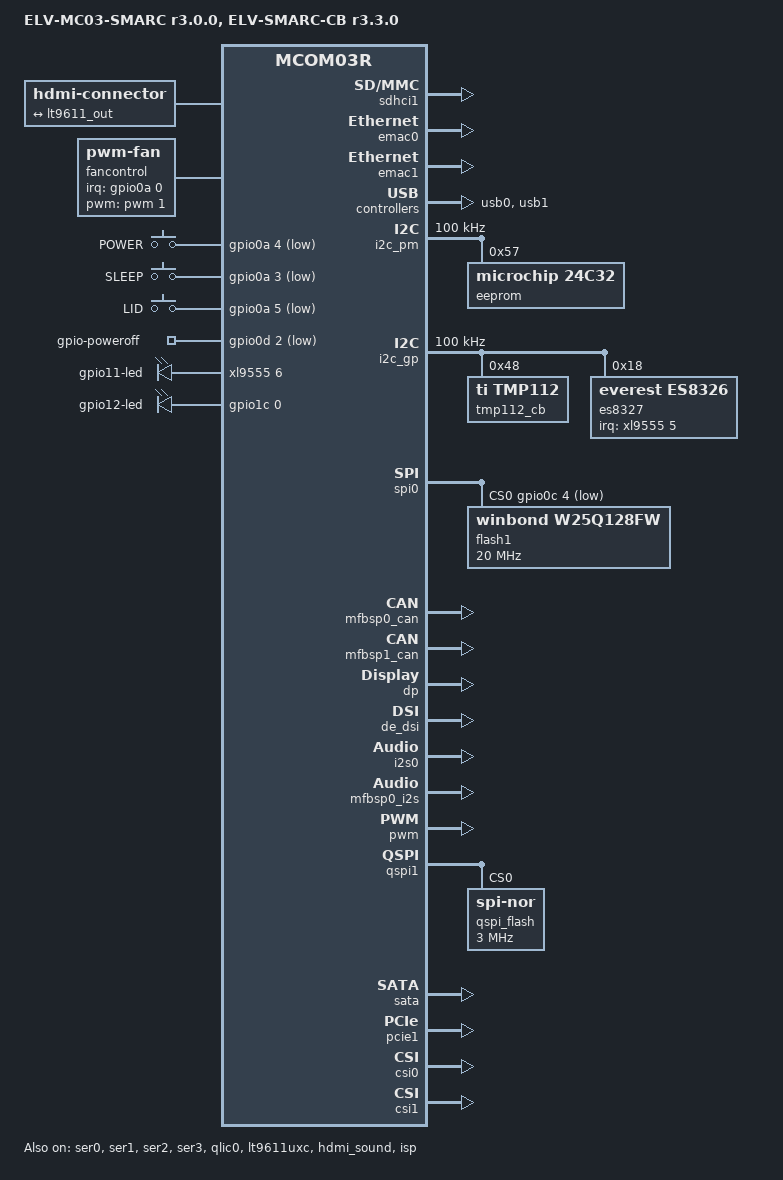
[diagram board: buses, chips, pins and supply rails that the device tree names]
// SPDX-License-Identifier: GPL-2.0+
// Copyright 2025 RnD Center "ELVEES", JSC

/dts-v1/;

#include <dt-bindings/gpio/gpio.h>
#include <dt-bindings/input/input.h>

#include "mcom03r-elvmc03smarc-r3.0.0.dtsi"

/ {
	model = "ELV-MC03-SMARC r3.0.0, ELV-SMARC-CB r3.3.0";
	compatible = "elvees,elvmc03smarc-r3.0.0-elvsmarccb-r3.3.0",
		     "elvees,elvmc03smarc-elvsmarccb",
		     "elvees,elvsmarccb-r3.3.0",
		     "elvees,elvsmarccb",
		     "elvees,elvmc03smarc-r3.0.0",
		     "elvees,elvmc03smarc",
		     "elvees,mcom03r";

	aliases {
		i2c5 = &i2c_cam0;
		i2c6 = &i2c_cam1;
	};

	chosen {
		stdout-path = "serial0:115200n8";
	};

	hdmi_connector: hdmi-connector {
		compatible = "hdmi-connector";
		label = "hdmi";

		type = "a";

		port {
			hdmi_connector_in: endpoint {
				remote-endpoint = <&lt9611_out>;
			};
		};
	};

	elvsmarccb_asound {
		compatible = "simple-audio-card";
		simple-audio-card,name = "analog-audio";
		simple-audio-card,format = "i2s";
		simple-audio-card,bitclock-master = <&dailink1_master>;
		simple-audio-card,frame-master = <&dailink1_master>;
		simple-audio-card,continuous-clock;

		dailink1_master: simple-audio-card,cpu {
				sound-dai = <&mfbsp0_i2s>;
		};

		simple-audio-card,codec {
				sound-dai = <&es8327>;
		};
	};

	fancontrol: pwm-fan {
		compatible = "pwm-fan";
		pwms = <&pwm 1 40000 0>;
		#cooling-cells = <2>;
		cooling-levels = <0 102 180 230>;
		interrupt-parent = <&gpio0a>;
		interrupts = <0 IRQ_TYPE_EDGE_FALLING>;
		pulses-per-revolution = <2>;
	};

	elvsmarccb-keys-with-irq {
		compatible = "gpio-keys";

		power {
			gpios = <&gpio0a 4 GPIO_ACTIVE_LOW>;
			label = "POWER";
			linux,code = <KEY_POWER>;
		};

		sleep {
			gpios = <&gpio0a 3 GPIO_ACTIVE_LOW>;
			label = "SLEEP";
			linux,code = <KEY_SLEEP>;
		};

		lid-switch {
			gpios = <&gpio0a 5 GPIO_ACTIVE_LOW>;
			label = "LID";
			linux,input-type = <EV_SW>;
			linux,code = <SW_LID>;
			wakeup-source;
		};
	};

	gpio-poweroff {
		compatible = "gpio-poweroff";
		gpios = <&gpio0d 2 GPIO_ACTIVE_LOW>;
		timeout-ms = <1000>;
	};

	elvsmarccb-leds {
		compatible = "gpio-leds";

		gpio11-led {
			gpios = <&xl9555 6 GPIO_ACTIVE_HIGH>;
			default-state = "off";
		};

		gpio12-led {
			gpios = <&gpio1c 0 GPIO_ACTIVE_HIGH>;
			default-state = "off";
		};
	};
};

&gpio0a {
	gpio-line-names = "GPIO6", "nSMB_ALERT", "SER0_CTS", "nSLEEP",
		"nPOWER_BTN", "nLID", "INT_LVDS_1V8", "SER0_RTS";
};

&gpio0d {
	gpio-line-names = "SER2_TX", "", "nCARRIER_SHDWN", "I2C_PM_CK",
		"I2C_PM_DAT", "GPIO1_CAM1_PWR#", "GPIO2_CAM0_RST#", "nUSER_LED1";
};

&gpio1b {
	gpio-line-names = "HDMI_I2S_SCLK", "HDMI_I2S_LRCLK", "HDMI_I2S_D",
		"GPIO0_CAM0_PWR#", "ESPI_RESET#", "", "SER1_TX", "SER1_RX";
};

&gpio1c {
	gpio-line-names = "GPIO12", "GPIO13", "nCHARGING", "nCHARGER_PRSNT",
		"nTEST", "CARRIER_STBY#", "FORCE_RECOV#", "";
};

&xl9555 {
	gpio-line-names = "GPIO4", "USB_HUB_RST#", "GPIO7", "GPIO8", "GPIO9",
		"GPIO10", "GPIO11", " PCIE_WAKE#", "nRST_ETH1", "nRST_ETH0",
		"nRST_HDMI", "", "INT_HDMI", "nINT_RTC", "nINT_ETH0", "nINT_ETH1";
};

&sdhci1 {
	status = "okay";

	/* Disable 1.8V support
	 * Disable SDR50, SDR104 and DDR50 support
	 */
	sdhci-caps-mask = <0x7 0x4000000>;
	sdhci-caps = <0x0 0x0>;
};

&sdhci1_default {
	/* The default clock pad drive strength of 6 mA is insufficient
	 * for some ELV-SMARC-CBs resulting in unstable SDMMC performance
	 */
	clk {
		pins = "SDMMC1_CLK";
		drive-strength = <8>;
	};
};

/* Connects to XP8(RS-232) or XP9(RS-485) chosen by SA5 switch */
&ser0 {
	status = "okay";

	pinctrl-names = "default";
	pinctrl-0 = <&uart3_mux_data &uart3_mux_rtscts>;
};

/* Connects to debug USB Type-C port */
&ser1 {
	status = "okay";
};

/* Connects to XP12 RPi header */
&ser2 {
	status = "okay";
};

/* Connects to XP11 */
&ser3 {
	status = "okay";
};

&emac0 {
	status = "okay";
};

&emac1 {
	status = "okay";
};

// Increase pad current for higer speed - from 400-600 to 900+ Mbit/s.
&emac1_default {
	tx_data {
		groups = "emac1_tx";
		drive-strength = <6>;
	};

	txc {
		pins = "EMAC1_RGMII_TXC";
		drive-strength = <6>;
	};
};

&usb0 {
	status = "okay";
};

/* Connected to USB 3.0 hub */
&usb1 {
	status = "okay";
};

&i2c_pm {
	status = "okay";
	// not tested to work on 400k
	clock-frequency = <100000>;

	eeprom@57 {
		compatible = "microchip,24c32", "atmel,24c32";
		reg = <0x57>;
	};
};

&i2c_gp {
	status = "okay";
	// not tested to work on 400k
	clock-frequency = <100000>;

	tmp112_cb: temperature-sensor@48 {
		compatible = "ti,tmp112";
		reg = <0x48>;
	};

	es8327: codec@18 {
		compatible = "everest,es8326";
		reg = <0x18>;

		interrupt-parent = <&xl9555>;
		interrupts = <5 IRQ_TYPE_EDGE_RISING>;

		clocks = <&audio_mclk>;
		clock-names = "mclk";
		#sound-dai-cells = <0>;
		everest,mic1-src = [22];
		everest,mic2-src = [44];
		everest,jack-pol = [0e];
		everest,interrupt-src = [08];
		everest,interrupt-clk = [45];
	};
};

&spi0 {
	status = "okay";
	num-cs = <2>;
	cs-gpios = <&gpio0c 4 GPIO_ACTIVE_LOW>, <&gpio0c 5 GPIO_ACTIVE_LOW>;

	flash1: w25q128jw@0 {
		#address-cells = <1>;
		#size-cells = <1>;
		compatible = "winbond,w25q128fw", "jedec,spi-nor";
		spi-max-frequency = <20000000>;
		reg = <0x0>;
	};
};

/* Connected to XP3 socket through CAN transceiver */
&mfbsp0_can {
	status = "okay";
};

/* Connected to XP3 socket through CAN transceiver */
&mfbsp1_can {
	status = "okay";
};

&qlic0 {
	status = "okay";
};

&dp {
	status = "okay";
};

&de_dsi {
	status = "okay";
};

&lt9611uxc {
	status = "okay";

	ports {
		port@2 {
			reg = <2>;
			lt9611_out: endpoint {
				remote-endpoint = <&hdmi_connector_in>;
			};
		};
	};
};

&hdmi_sound {
	status = "okay";
};

&i2s0 {
	status = "okay";
};

/* SMARC S38-42 (I2S0*) pins connected to mfbsp0 */
&mfbsp0_i2s {
	status = "okay";
};

&audio_mclk {
	status = "okay";
};

&pwm {
		status = "okay";
		elvees,output-channel = <0 1 0 0>;
		elvees,state-on-disable = <0 1 0 0>;

		pinctrl-names = "default";
		pinctrl-0 = <&pwm_oenb1_mux>;
};

/*
 * Upon reaching the trip point the thermal subsystem driver enables the fans.
 *
 * Thermal zones can be enabled/disabled via sysfs by writing said state into
 * the corresponding /sys/class/thermal/thermal_zoneX/mode file.
 */
&trips {
	cpu_alert0: cpu-alert-0 {
		temperature = <50000>;
		hysteresis = <1000>;
		type = "active";
	};
};

&cooling_maps {
	map0 {
		trip = <&cpu_alert0>;
		cooling-device = <&fancontrol
				  THERMAL_NO_LIMIT
				  THERMAL_NO_LIMIT>;
	};
};

&qspi1 {
	status = "okay";

	qspi_flash: spi-nor@0 {
		#address-cells = <1>;
		#size-cells = <1>;
		compatible = "jedec,spi-nor", "spi-flash";
		reg = <0x0>;
		/* Highest frequency for IC installed into socket */
		spi-max-frequency = <3000000>;
		m25p,fast-read;
	};
};

&qspi1_default {
	/* Max clock frequency is 1 MHz with default pad drive strength.
	 * This value increases max clock frequency to 3 MHz */
	clk {
		drive-strength = <10>;
	};
};

&sata {
	status = "okay";
};

&pcie1 {
	status = "okay";
};

&isp {
	status = "okay";
};

&csi0 {
	status = "okay";
};

&csi1 {
	status = "okay";
};
